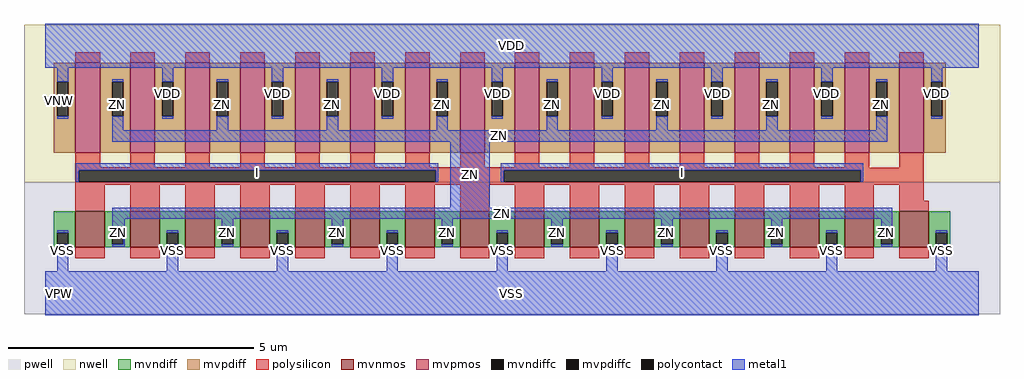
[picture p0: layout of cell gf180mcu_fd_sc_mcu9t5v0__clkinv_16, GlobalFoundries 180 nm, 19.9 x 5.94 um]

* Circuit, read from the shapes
.subckt gf180mcu_fd_sc_mcu9t5v0__clkinv_16 I ZN VDD VNW VPW VSS
XM1 ZN I VSS VPW nfet_06v0 w=0.73u l=0.6u m=16
XM2 ZN I VDD VNW pfet_06v0 w=1.83u l=0.5u m=16
.ends

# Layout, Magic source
magic
tech gf180mcuD
magscale 1 10
<< nwell >>
rect -86 453 3894 1094
<< pwell >>
rect -86 -86 3894 453
<< mvnmos >>
rect 124 187 244 333
rect 348 187 468 333
rect 572 187 692 333
rect 796 187 916 333
rect 1020 187 1140 333
rect 1244 187 1364 333
rect 1468 187 1588 333
rect 1692 187 1812 333
rect 1916 187 2036 333
rect 2140 187 2260 333
rect 2364 187 2484 333
rect 2588 187 2708 333
rect 2812 187 2932 333
rect 3036 187 3156 333
rect 3260 187 3380 333
rect 3484 187 3604 333
<< mvpmos >>
rect 124 573 224 939
rect 348 573 448 939
rect 572 573 672 939
rect 796 573 896 939
rect 1020 573 1120 939
rect 1244 573 1344 939
rect 1468 573 1568 939
rect 1692 573 1792 939
rect 1916 573 2016 939
rect 2140 573 2240 939
rect 2364 573 2464 939
rect 2588 573 2688 939
rect 2812 573 2912 939
rect 3036 573 3136 939
rect 3260 573 3360 939
rect 3484 573 3584 939
<< mvndiff >>
rect 36 246 124 333
rect 36 200 49 246
rect 95 200 124 246
rect 36 187 124 200
rect 244 246 348 333
rect 244 200 273 246
rect 319 200 348 246
rect 244 187 348 200
rect 468 246 572 333
rect 468 200 497 246
rect 543 200 572 246
rect 468 187 572 200
rect 692 246 796 333
rect 692 200 721 246
rect 767 200 796 246
rect 692 187 796 200
rect 916 246 1020 333
rect 916 200 945 246
rect 991 200 1020 246
rect 916 187 1020 200
rect 1140 246 1244 333
rect 1140 200 1169 246
rect 1215 200 1244 246
rect 1140 187 1244 200
rect 1364 246 1468 333
rect 1364 200 1393 246
rect 1439 200 1468 246
rect 1364 187 1468 200
rect 1588 246 1692 333
rect 1588 200 1617 246
rect 1663 200 1692 246
rect 1588 187 1692 200
rect 1812 246 1916 333
rect 1812 200 1841 246
rect 1887 200 1916 246
rect 1812 187 1916 200
rect 2036 246 2140 333
rect 2036 200 2065 246
rect 2111 200 2140 246
rect 2036 187 2140 200
rect 2260 246 2364 333
rect 2260 200 2289 246
rect 2335 200 2364 246
rect 2260 187 2364 200
rect 2484 246 2588 333
rect 2484 200 2513 246
rect 2559 200 2588 246
rect 2484 187 2588 200
rect 2708 246 2812 333
rect 2708 200 2737 246
rect 2783 200 2812 246
rect 2708 187 2812 200
rect 2932 246 3036 333
rect 2932 200 2961 246
rect 3007 200 3036 246
rect 2932 187 3036 200
rect 3156 246 3260 333
rect 3156 200 3185 246
rect 3231 200 3260 246
rect 3156 187 3260 200
rect 3380 246 3484 333
rect 3380 200 3409 246
rect 3455 200 3484 246
rect 3380 187 3484 200
rect 3604 246 3692 333
rect 3604 200 3633 246
rect 3679 200 3692 246
rect 3604 187 3692 200
<< mvpdiff >>
rect 36 861 124 939
rect 36 721 49 861
rect 95 721 124 861
rect 36 573 124 721
rect 224 861 348 939
rect 224 721 273 861
rect 319 721 348 861
rect 224 573 348 721
rect 448 861 572 939
rect 448 721 477 861
rect 523 721 572 861
rect 448 573 572 721
rect 672 861 796 939
rect 672 721 701 861
rect 747 721 796 861
rect 672 573 796 721
rect 896 861 1020 939
rect 896 721 925 861
rect 971 721 1020 861
rect 896 573 1020 721
rect 1120 861 1244 939
rect 1120 721 1149 861
rect 1195 721 1244 861
rect 1120 573 1244 721
rect 1344 861 1468 939
rect 1344 721 1373 861
rect 1419 721 1468 861
rect 1344 573 1468 721
rect 1568 861 1692 939
rect 1568 721 1597 861
rect 1643 721 1692 861
rect 1568 573 1692 721
rect 1792 861 1916 939
rect 1792 721 1821 861
rect 1867 721 1916 861
rect 1792 573 1916 721
rect 2016 861 2140 939
rect 2016 721 2045 861
rect 2091 721 2140 861
rect 2016 573 2140 721
rect 2240 861 2364 939
rect 2240 721 2269 861
rect 2315 721 2364 861
rect 2240 573 2364 721
rect 2464 861 2588 939
rect 2464 721 2493 861
rect 2539 721 2588 861
rect 2464 573 2588 721
rect 2688 861 2812 939
rect 2688 721 2717 861
rect 2763 721 2812 861
rect 2688 573 2812 721
rect 2912 861 3036 939
rect 2912 721 2941 861
rect 2987 721 3036 861
rect 2912 573 3036 721
rect 3136 861 3260 939
rect 3136 721 3165 861
rect 3211 721 3260 861
rect 3136 573 3260 721
rect 3360 861 3484 939
rect 3360 721 3389 861
rect 3435 721 3484 861
rect 3360 573 3484 721
rect 3584 861 3672 939
rect 3584 721 3613 861
rect 3659 721 3672 861
rect 3584 573 3672 721
<< mvndiffc >>
rect 49 200 95 246
rect 273 200 319 246
rect 497 200 543 246
rect 721 200 767 246
rect 945 200 991 246
rect 1169 200 1215 246
rect 1393 200 1439 246
rect 1617 200 1663 246
rect 1841 200 1887 246
rect 2065 200 2111 246
rect 2289 200 2335 246
rect 2513 200 2559 246
rect 2737 200 2783 246
rect 2961 200 3007 246
rect 3185 200 3231 246
rect 3409 200 3455 246
rect 3633 200 3679 246
<< mvpdiffc >>
rect 49 721 95 861
rect 273 721 319 861
rect 477 721 523 861
rect 701 721 747 861
rect 925 721 971 861
rect 1149 721 1195 861
rect 1373 721 1419 861
rect 1597 721 1643 861
rect 1821 721 1867 861
rect 2045 721 2091 861
rect 2269 721 2315 861
rect 2493 721 2539 861
rect 2717 721 2763 861
rect 2941 721 2987 861
rect 3165 721 3211 861
rect 3389 721 3435 861
rect 3613 721 3659 861
<< polysilicon >>
rect 124 939 224 983
rect 348 939 448 983
rect 572 939 672 983
rect 796 939 896 983
rect 1020 939 1120 983
rect 1244 939 1344 983
rect 1468 939 1568 983
rect 1692 939 1792 983
rect 1916 939 2016 983
rect 2140 939 2240 983
rect 2364 939 2464 983
rect 2588 939 2688 983
rect 2812 939 2912 983
rect 3036 939 3136 983
rect 3260 939 3360 983
rect 3484 939 3584 983
rect 124 513 224 573
rect 348 513 448 573
rect 572 513 672 573
rect 796 513 896 573
rect 1020 513 1120 573
rect 1244 513 1344 573
rect 1468 513 1568 573
rect 1692 513 1792 573
rect 1916 513 2016 573
rect 2140 513 2240 573
rect 2364 513 2464 573
rect 2588 513 2688 573
rect 2812 513 2912 573
rect 3036 513 3136 573
rect 3260 513 3360 573
rect 124 512 3360 513
rect 3484 512 3584 573
rect 124 500 3584 512
rect 124 454 137 500
rect 1593 454 1870 500
rect 3326 454 3584 500
rect 124 441 3584 454
rect 124 333 244 441
rect 348 333 468 441
rect 572 333 692 441
rect 796 333 916 441
rect 1020 333 1140 441
rect 1244 333 1364 441
rect 1468 333 1588 441
rect 1692 333 1812 441
rect 1916 333 2036 441
rect 2140 333 2260 441
rect 2364 333 2484 441
rect 2588 333 2708 441
rect 2812 333 2932 441
rect 3036 333 3156 441
rect 3260 333 3380 441
rect 3484 377 3584 441
rect 3484 333 3604 377
rect 124 143 244 187
rect 348 143 468 187
rect 572 143 692 187
rect 796 143 916 187
rect 1020 143 1140 187
rect 1244 143 1364 187
rect 1468 143 1588 187
rect 1692 143 1812 187
rect 1916 143 2036 187
rect 2140 143 2260 187
rect 2364 143 2484 187
rect 2588 143 2708 187
rect 2812 143 2932 187
rect 3036 143 3156 187
rect 3260 143 3380 187
rect 3484 143 3604 187
<< polycontact >>
rect 137 454 1593 500
rect 1870 454 3326 500
<< metal1 >>
rect 0 918 3808 1098
rect 49 861 95 918
rect 49 710 95 721
rect 273 861 319 872
rect 273 664 319 721
rect 477 861 523 918
rect 477 710 523 721
rect 701 861 747 872
rect 701 664 747 721
rect 925 861 971 918
rect 925 710 971 721
rect 1149 861 1195 872
rect 1149 664 1195 721
rect 1373 861 1419 918
rect 1373 710 1419 721
rect 1597 861 1643 872
rect 1597 664 1643 721
rect 1821 861 1867 918
rect 1821 710 1867 721
rect 2045 861 2091 872
rect 2045 664 2091 721
rect 2269 861 2315 918
rect 2269 710 2315 721
rect 2493 861 2539 872
rect 2493 664 2539 721
rect 2717 861 2763 918
rect 2717 710 2763 721
rect 2941 861 2987 872
rect 2941 664 2987 721
rect 3165 861 3211 918
rect 3165 710 3211 721
rect 3389 861 3435 872
rect 3389 664 3435 721
rect 3613 861 3659 918
rect 3613 710 3659 721
rect 273 618 3435 664
rect 126 500 1604 530
rect 126 454 137 500
rect 1593 454 1604 500
rect 1653 349 1813 618
rect 1859 500 3337 530
rect 1859 454 1870 500
rect 3326 454 3337 500
rect 273 303 3455 349
rect 49 246 95 257
rect 49 90 95 200
rect 273 246 325 303
rect 319 200 325 246
rect 273 189 325 200
rect 497 246 543 257
rect 497 90 543 200
rect 721 246 767 303
rect 721 189 767 200
rect 945 246 991 257
rect 945 90 991 200
rect 1169 246 1215 303
rect 1169 189 1215 200
rect 1393 246 1439 257
rect 1393 90 1439 200
rect 1617 246 1663 303
rect 1617 189 1663 200
rect 1841 246 1887 257
rect 1841 90 1887 200
rect 2065 246 2111 303
rect 2065 189 2111 200
rect 2289 246 2335 257
rect 2289 90 2335 200
rect 2513 246 2559 303
rect 2513 189 2559 200
rect 2737 246 2783 257
rect 2737 90 2783 200
rect 2961 246 3007 303
rect 2961 189 3007 200
rect 3185 246 3231 257
rect 3185 90 3231 200
rect 3409 246 3455 303
rect 3409 189 3455 200
rect 3633 246 3679 257
rect 3633 90 3679 200
rect 0 -90 3808 90
<< labels >>
flabel metal1 s 126 454 1604 530 0 FreeSans 200 0 0 0 I
port 1 nsew default input
flabel metal1 s 0 918 3808 1098 0 FreeSans 200 0 0 0 VDD
port 3 nsew power bidirectional abutment
flabel metal1 s 3633 90 3679 257 0 FreeSans 200 0 0 0 VSS
port 6 nsew ground bidirectional abutment
flabel metal1 s 3389 664 3435 872 0 FreeSans 200 0 0 0 ZN
port 2 nsew default output
flabel nwell s 10 734 110 834 0 FreeSans 400 0 0 0 VNW
port 4 nsew power bidirectional
flabel pwell s 10 -50 110 50 0 FreeSans 400 0 0 0 VPW
port 5 nsew ground bidirectional
rlabel metal1 s 1859 454 3337 530 1 I
port 1 nsew default input
rlabel metal1 s 2941 664 2987 872 1 ZN
port 2 nsew default output
rlabel metal1 s 2493 664 2539 872 1 ZN
port 2 nsew default output
rlabel metal1 s 2045 664 2091 872 1 ZN
port 2 nsew default output
rlabel metal1 s 1597 664 1643 872 1 ZN
port 2 nsew default output
rlabel metal1 s 1149 664 1195 872 1 ZN
port 2 nsew default output
rlabel metal1 s 701 664 747 872 1 ZN
port 2 nsew default output
rlabel metal1 s 273 664 319 872 1 ZN
port 2 nsew default output
rlabel metal1 s 273 618 3435 664 1 ZN
port 2 nsew default output
rlabel metal1 s 1653 349 1813 618 1 ZN
port 2 nsew default output
rlabel metal1 s 273 303 3455 349 1 ZN
port 2 nsew default output
rlabel metal1 s 3409 189 3455 303 1 ZN
port 2 nsew default output
rlabel metal1 s 2961 189 3007 303 1 ZN
port 2 nsew default output
rlabel metal1 s 2513 189 2559 303 1 ZN
port 2 nsew default output
rlabel metal1 s 2065 189 2111 303 1 ZN
port 2 nsew default output
rlabel metal1 s 1617 189 1663 303 1 ZN
port 2 nsew default output
rlabel metal1 s 1169 189 1215 303 1 ZN
port 2 nsew default output
rlabel metal1 s 721 189 767 303 1 ZN
port 2 nsew default output
rlabel metal1 s 273 189 325 303 1 ZN
port 2 nsew default output
rlabel metal1 s 3613 710 3659 918 1 VDD
port 3 nsew power bidirectional abutment
rlabel metal1 s 3165 710 3211 918 1 VDD
port 3 nsew power bidirectional abutment
rlabel metal1 s 2717 710 2763 918 1 VDD
port 3 nsew power bidirectional abutment
rlabel metal1 s 2269 710 2315 918 1 VDD
port 3 nsew power bidirectional abutment
rlabel metal1 s 1821 710 1867 918 1 VDD
port 3 nsew power bidirectional abutment
rlabel metal1 s 1373 710 1419 918 1 VDD
port 3 nsew power bidirectional abutment
rlabel metal1 s 925 710 971 918 1 VDD
port 3 nsew power bidirectional abutment
rlabel metal1 s 477 710 523 918 1 VDD
port 3 nsew power bidirectional abutment
rlabel metal1 s 49 710 95 918 1 VDD
port 3 nsew power bidirectional abutment
rlabel metal1 s 3185 90 3231 257 1 VSS
port 6 nsew ground bidirectional abutment
rlabel metal1 s 2737 90 2783 257 1 VSS
port 6 nsew ground bidirectional abutment
rlabel metal1 s 2289 90 2335 257 1 VSS
port 6 nsew ground bidirectional abutment
rlabel metal1 s 1841 90 1887 257 1 VSS
port 6 nsew ground bidirectional abutment
rlabel metal1 s 1393 90 1439 257 1 VSS
port 6 nsew ground bidirectional abutment
rlabel metal1 s 945 90 991 257 1 VSS
port 6 nsew ground bidirectional abutment
rlabel metal1 s 497 90 543 257 1 VSS
port 6 nsew ground bidirectional abutment
rlabel metal1 s 49 90 95 257 1 VSS
port 6 nsew ground bidirectional abutment
rlabel metal1 s 0 -90 3808 90 1 VSS
port 6 nsew ground bidirectional abutment
<< properties >>
string FIXED_BBOX 0 0 3808 1008
string GDS_END 1474654
string GDS_FILE $PDKPATH/libs.ref/gf180mcu_fd_sc_mcu9t5v0/gds/gf180mcu_fd_sc_mcu9t5v0.gds
string GDS_START 1465608
string LEFclass core
string LEFsite GF018hv5v_green_sc9
string LEFsymmetry X Y
<< end >>
